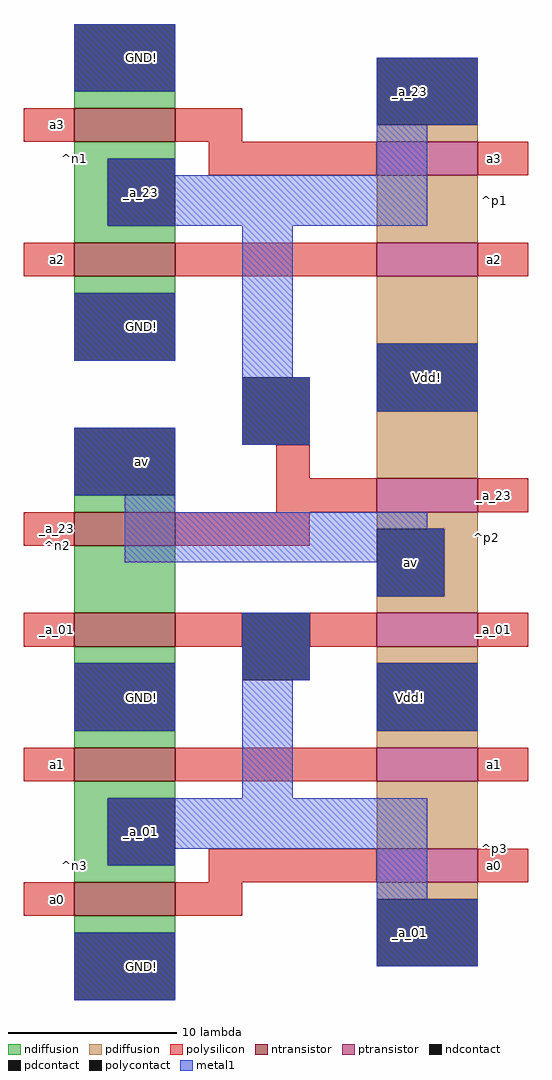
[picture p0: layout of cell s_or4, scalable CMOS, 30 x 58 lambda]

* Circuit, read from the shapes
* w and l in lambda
.subckt s_or4 GND! Vdd! _a_01 _a_23 a0 a1 a2 a3 av
M1 _a_01 a0 GND! VSUBS nfet w=6 l=2
M2 GND! a1 _a_01 VSUBS nfet w=6 l=2
M3 n1 _a_01 GND! VSUBS nfet w=6 l=2
M4 av _a_23 n1 VSUBS nfet w=6 l=2
M5 _a_23 a2 GND! VSUBS nfet w=6 l=2
M6 GND! a3 _a_23 VSUBS nfet w=6 l=2
M7 n2 a0 _a_01 NWELL pfet w=6 l=2
M8 Vdd! a1 n2 NWELL pfet w=6 l=2
M9 av _a_01 Vdd! NWELL pfet w=6 l=2
M10 Vdd! _a_23 av NWELL pfet w=6 l=2
M11 n3 a2 Vdd! NWELL pfet w=6 l=2
M12 _a_23 a3 n3 NWELL pfet w=6 l=2
.ends

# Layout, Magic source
magic
tech scmos
<< ndiffusion >>
rect 0 37 6 38
rect 0 34 6 35
rect 0 30 2 34
rect 0 29 6 30
rect 0 26 6 27
rect 0 13 6 14
rect 0 7 6 11
rect 0 4 6 5
rect 0 -1 6 0
rect 0 -4 6 -3
rect 0 -8 2 -4
rect 0 -9 6 -8
rect 0 -12 6 -11
<< pdiffusion >>
rect 18 35 24 36
rect 18 29 24 33
rect 18 23 24 27
rect 18 15 24 19
rect 18 12 24 13
rect 22 8 24 12
rect 18 7 24 8
rect 18 4 24 5
rect 18 -1 24 0
rect 18 -7 24 -3
rect 18 -10 24 -9
<< ntransistor >>
rect 0 35 6 37
rect 0 27 6 29
rect 0 11 6 13
rect 0 5 6 7
rect 0 -3 6 -1
rect 0 -11 6 -9
<< ptransistor >>
rect 18 33 24 35
rect 18 27 24 29
rect 18 13 24 15
rect 18 5 24 7
rect 18 -3 24 -1
rect 18 -9 24 -7
<< polysilicon >>
rect -3 35 0 37
rect 6 35 10 37
rect 8 33 18 35
rect 24 33 27 35
rect -3 27 0 29
rect 6 27 18 29
rect 24 27 27 29
rect 12 15 14 17
rect 12 13 18 15
rect 24 13 27 15
rect -3 11 0 13
rect 6 11 14 13
rect -3 5 0 7
rect 6 5 10 7
rect 14 5 18 7
rect 24 5 27 7
rect -3 -3 0 -1
rect 6 -3 18 -1
rect 24 -3 27 -1
rect 8 -9 18 -7
rect 24 -9 27 -7
rect -3 -11 0 -9
rect 6 -11 10 -9
<< ndcontact >>
rect 0 38 6 42
rect 2 30 6 34
rect 0 22 6 26
rect 0 14 6 18
rect 0 0 6 4
rect 2 -8 6 -4
rect 0 -16 6 -12
<< pdcontact >>
rect 18 36 24 40
rect 18 19 24 23
rect 18 8 22 12
rect 18 0 24 4
rect 18 -14 24 -10
<< polycontact >>
rect 10 17 14 21
rect 10 3 14 7
<< metal1 >>
rect 0 38 6 42
rect 18 36 24 40
rect 2 33 6 34
rect 18 33 21 36
rect 2 30 21 33
rect 0 22 6 26
rect 10 21 13 30
rect 0 14 6 18
rect 10 17 14 21
rect 18 19 24 23
rect 3 13 6 14
rect 3 12 21 13
rect 3 10 22 12
rect 18 8 22 10
rect 0 0 6 4
rect 10 3 14 7
rect 10 -4 13 3
rect 18 0 24 4
rect 2 -7 21 -4
rect 2 -8 6 -7
rect 18 -10 21 -7
rect 0 -16 6 -12
rect 18 -14 24 -10
<< labels >>
rlabel polysilicon 25 6 25 6 1 _a_01
rlabel polysilicon 25 14 25 14 1 _a_23
rlabel polysilicon -1 28 -1 28 1 a2
rlabel polysilicon -1 36 -1 36 1 a3
rlabel polysilicon -1 -2 -1 -2 1 a1
rlabel polysilicon -1 -10 -1 -10 1 a0
rlabel polysilicon 25 28 25 28 1 a2
rlabel polysilicon 25 34 25 34 1 a3
rlabel polysilicon 25 -2 25 -2 1 a1
rlabel polysilicon 25 -8 25 -8 1 a0
rlabel polysilicon -1 6 -1 6 1 _a_01
rlabel polysilicon -1 12 -1 12 1 _a_23
rlabel space -3 25 3 43 7 ^n1
rlabel space -3 3 1 19 7 ^n2
rlabel space 22 3 27 20 3 ^p2
rlabel space 23 22 27 41 3 ^p1
rlabel space 23 -15 27 1 3 ^p3
rlabel space -3 -17 3 1 7 ^n3
rlabel pdcontact 20 10 20 10 1 av
rlabel ndcontact 4 16 4 16 1 av
rlabel ndcontact 4 -6 4 -6 5 _a_01
rlabel pdcontact 20 -12 20 -12 5 _a_01
rlabel pdcontact 20 38 20 38 1 _a_23
rlabel ndcontact 4 32 4 32 1 _a_23
rlabel ndcontact 4 -14 4 -14 5 GND!
rlabel ndcontact 4 2 4 2 5 GND!
rlabel ndcontact 4 24 4 24 1 GND!
rlabel ndcontact 4 40 4 40 1 GND!
rlabel pdcontact 20 2 20 2 1 Vdd!
rlabel metal1 21 21 21 21 1 Vdd!
<< end >>
